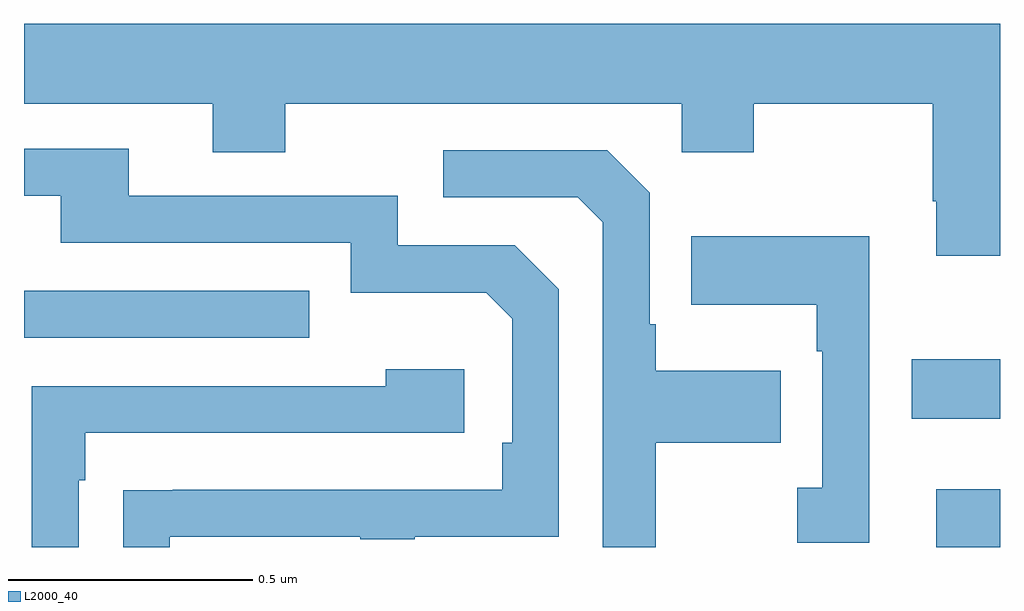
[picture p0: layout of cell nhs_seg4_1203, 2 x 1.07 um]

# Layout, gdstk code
import gdstk
lib = gdstk.Library(unit=1e-6, precision=1e-09)
def R(c, l, rs):  # rectangles x0, y0, x1, y1
    for r in rs: c.add(gdstk.rectangle(r[:2], r[2:], *l))
def P(c, l, *ps):  # polygons
    for p in ps: c.add(gdstk.Polygon(p, *l))
L2000_40 = (2000, 40)

nhs_seg4_1203 = lib.new_cell('nhs_seg4_1203')
R(nhs_seg4_1203, L2000_40, [(126.869,807.9,127,808.018), (126.819,808.163,127,808.285), (125,808.329,125.585,808.425)])
P(nhs_seg4_1203, L2000_40, [(127,808.972),(125,808.972),(125,808.808),(125.387,808.808),(125.387,808.709),(125.535,808.709),(125.535,808.808),(126.348,808.808),(126.348,808.709),(126.495,808.709),(126.495,808.808),(126.862,808.808),(126.862,808.609),(126.869,808.609),(126.869,808.497),(127,808.497)],
  [(125.299,807.921),(125.689,807.921),(125.689,807.916),(125.801,807.916),(125.801,807.921),(126.096,807.921),(126.096,808.428),(126.006,808.518),(125.766,808.518),(125.766,808.62),(125.215,808.62),(125.215,808.716),(125,808.716),(125,808.62),(125.075,808.62),(125.075,808.524),(125.67,808.524),(125.67,808.421),(125.947,808.421),(126,808.368),(126,808.114),(125.98,808.114),(125.98,808.017),(125.305,808.017),(125.305,808.016),(125.203,808.016),(125.203,807.9),(125.299,807.9)],
  [(126.295,808.114),(126.551,808.114),(126.551,808.261),(126.295,808.261),(126.295,808.357),(126.282,808.357),(126.282,808.626),(126.195,808.713),(125.859,808.713),(125.859,808.617),(126.135,808.617),(126.186,808.566),(126.186,807.9),(126.295,807.9)],
  [(126.732,808.537),(126.367,808.537),(126.367,808.397),(126.624,808.397),(126.624,808.301),(126.636,808.301),(126.636,808.022),(126.585,808.022),(126.585,807.909),(126.732,807.909)],
  [(125.112,808.037),(125.125,808.037),(125.125,808.134),(125.902,808.134),(125.902,808.264),(125.741,808.264),(125.741,808.23),(125.016,808.23),(125.016,807.9),(125.112,807.9)])

lib.write_gds('nhs_seg4_1203.gds')
